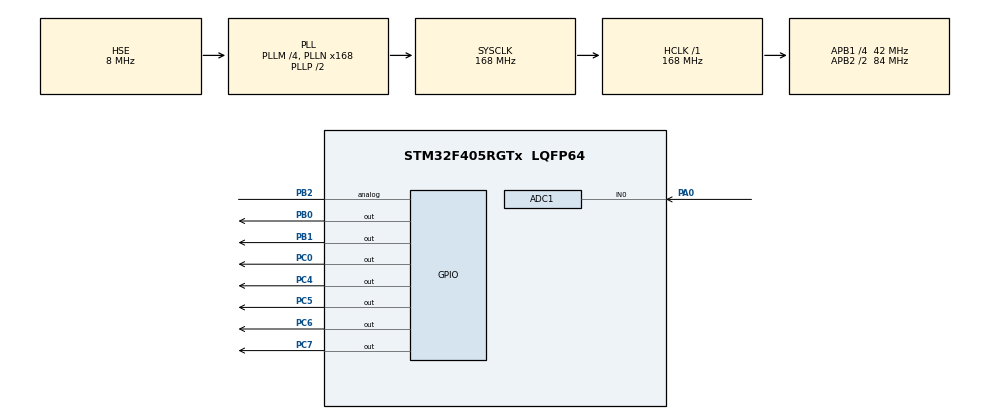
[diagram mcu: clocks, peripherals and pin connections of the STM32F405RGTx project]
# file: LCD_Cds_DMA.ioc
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ADC1.Channel-0\#ChannelRegularConversion=ADC_CHANNEL_0
ADC1.ContinuousConvMode=ENABLE
ADC1.DMAContinuousRequests=ENABLE
ADC1.NbrOfConversionFlag=1
ADC1.Rank-0\#ChannelRegularConversion=1
ADC1.SamplingTime-0\#ChannelRegularConversion=ADC_SAMPLETIME_56CYCLES
ADC1.master=1
Dma.ADC1.0.Direction=DMA_PERIPH_TO_MEMORY
Dma.ADC1.0.FIFOMode=DMA_FIFOMODE_DISABLE
Dma.ADC1.0.Instance=DMA2_Stream0
Dma.ADC1.0.MemDataAlignment=DMA_MDATAALIGN_HALFWORD
Dma.ADC1.0.MemInc=DMA_MINC_ENABLE
Dma.ADC1.0.Mode=DMA_CIRCULAR
Dma.ADC1.0.PeriphDataAlignment=DMA_PDATAALIGN_HALFWORD
Dma.ADC1.0.PeriphInc=DMA_PINC_DISABLE
Dma.ADC1.0.Priority=DMA_PRIORITY_LOW
Dma.Request0=ADC1
Mcu.Family=STM32F4
Mcu.Name=STM32F405RGTx
Mcu.Package=LQFP64
NVIC.DMA2_Stream0_IRQn=true\:0\:0\:false\:false\:true\:false\:true
NVIC.PriorityGroup=NVIC_PRIORITYGROUP_4
PA0-WKUP.Signal=ADCx_IN0
PA13.Mode=Serial_Wire
PA13.Signal=SYS_JTMS-SWDIO
PA14.Mode=Serial_Wire
PA14.Signal=SYS_JTCK-SWCLK
PB0.Signal=GPIO_Output
PB1.Signal=GPIO_Output
PB2.Signal=GPIO_Analog
PC0.Signal=GPIO_Output
PC4.Signal=GPIO_Output
PC5.Signal=GPIO_Output
PC6.Signal=GPIO_Output
PC7.Signal=GPIO_Output
PH0-OSC_IN.Mode=HSE-External-Oscillator
PH0-OSC_IN.Signal=RCC_OSC_IN
PH1-OSC_OUT.Mode=HSE-External-Oscillator
PH1-OSC_OUT.Signal=RCC_OSC_OUT
ProjectManager.HeapSize=0x200
ProjectManager.StackSize=0x400
ProjectManager.TargetToolchain=EWARM V8.32
RCC.48MHZClocksFreq_Value=84000000
RCC.AHBFreq_Value=168000000
RCC.APB1CLKDivider=RCC_HCLK_DIV4
RCC.APB1Freq_Value=42000000
RCC.APB1TimFreq_Value=84000000
RCC.APB2CLKDivider=RCC_HCLK_DIV2
RCC.APB2Freq_Value=84000000
RCC.APB2TimFreq_Value=168000000
RCC.CortexFreq_Value=168000000
RCC.HCLKFreq_Value=168000000
RCC.HSE_VALUE=8000000
RCC.HSI_VALUE=16000000
RCC.LSE_VALUE=32768
RCC.PLLM=4
RCC.PLLN=168
RCC.PLLSourceVirtual=RCC_PLLSOURCE_HSE
RCC.SYSCLKFreq_VALUE=168000000
RCC.SYSCLKSource=RCC_SYSCLKSOURCE_PLLCLK
RCC.VCOOutputFreq_Value=336000000
SH.ADCx_IN0.0=ADC1_IN0,IN0
board=custom

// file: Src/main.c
/* USER CODE BEGIN Header */
/**
******************************************************************************
* @file           : main.c
* @brief          : Main program body
******************************************************************************
* @attention
*
* <h2><center>&copy; Copyright (c) 2020 STMicroelectronics.
* All rights reserved.</center></h2>
*
* This software component is licensed by ST under BSD 3-Clause license,
* the "License"; You may not use this file except in compliance with the
* License. You may obtain a copy of the License at:
*                        opensource.org/licenses/BSD-3-Clause
*
******************************************************************************
*/
/* USER CODE END Header */

#include "main.h"
#include "adc.h"
#include "dma.h"
#include "gpio.h"

/* USER CODE BEGIN Includes */
#include "lcd.h"
#include "stdio.h"
/* USER CODE END Includes */

/* USER CODE BEGIN PV */
uint16_t adcData;
char str[16];
uint16_t a=0;
uint16_t b=0;
/* USER CODE END PV */

void SystemClock_Config(void);
/* USER CODE BEGIN PFP */

void Cds()
{
  lcdClear();
    lcdGotoXY(0,0);
    lcdPrint("ADC DMA TEST");
    sprintf(str,"Cds : %d",adcData);
    lcdGotoXY(0,1);
    lcdPrint(str);
    HAL_Delay(500);

}

/* USER CODE END PFP */

int main(void)
{

  /* MCU Configuration--------------------------------------------------------*/

  /* Reset of all peripherals, Initializes the Flash interface and the Systick. */
  HAL_Init();

  /* Configure the system clock */
  SystemClock_Config();

  /* Initialize all configured peripherals */
  MX_GPIO_Init();
  MX_DMA_Init();
  MX_ADC1_Init();
  /* USER CODE BEGIN 2 */
  lcdInit();
  HAL_ADC_Start_DMA(&hadc1,(uint32_t*)&adcData,sizeof(adcData));

  /* USER CODE END 2 */

  /* Infinite loop */
  /* USER CODE BEGIN WHILE */

  while (1)
  {

     lcdClear();
    lcdGotoXY(0,0);
    lcdPrintData("ADC - DMA_Mode",14);
    sprintf(str,"Cds : %d",adcData);

    lcdGotoXY(0,1);
    lcdPrint(str);
    HAL_Delay(500);

    /* USER CODE END WHILE */

  }
}

void SystemClock_Config(void)
{
  RCC_OscInitTypeDef RCC_OscInitStruct = {0};
  RCC_ClkInitTypeDef RCC_ClkInitStruct = {0};

  /** Configure the main internal regulator output voltage
  */
  __HAL_RCC_PWR_CLK_ENABLE();
  __HAL_PWR_VOLTAGESCALING_CONFIG(PWR_REGULATOR_VOLTAGE_SCALE1);
  /** Initializes the CPU, AHB and APB busses clocks
  */
  RCC_OscInitStruct.OscillatorType = RCC_OSCILLATORTYPE_HSE;
  RCC_OscInitStruct.HSEState = RCC_HSE_ON;
  RCC_OscInitStruct.PLL.PLLState = RCC_PLL_ON;
  RCC_OscInitStruct.PLL.PLLSource = RCC_PLLSOURCE_HSE;
  RCC_OscInitStruct.PLL.PLLM = 4;
  RCC_OscInitStruct.PLL.PLLN = 168;
  RCC_OscInitStruct.PLL.PLLP = RCC_PLLP_DIV2;
  RCC_OscInitStruct.PLL.PLLQ = 4;
  if (HAL_RCC_OscConfig(&RCC_OscInitStruct) != HAL_OK)
  {
    Error_Handler();
  }
  /** Initializes the CPU, AHB and APB busses clocks
  */
  RCC_ClkInitStruct.ClockType = RCC_CLOCKTYPE_HCLK|RCC_CLOCKTYPE_SYSCLK
    |RCC_CLOCKTYPE_PCLK1|RCC_CLOCKTYPE_PCLK2;
  RCC_ClkInitStruct.SYSCLKSource = RCC_SYSCLKSOURCE_PLLCLK;
  RCC_ClkInitStruct.AHBCLKDivider = RCC_SYSCLK_DIV1;
  RCC_ClkInitStruct.APB1CLKDivider = RCC_HCLK_DIV4;
  RCC_ClkInitStruct.APB2CLKDivider = RCC_HCLK_DIV2;

  if (HAL_RCC_ClockConfig(&RCC_ClkInitStruct, FLASH_LATENCY_5) != HAL_OK)
  {
    Error_Handler();
  }
}

void Error_Handler(void)
{
}

/************************ (C) COPYRIGHT STMicroelectronics *****END OF FILE****/
